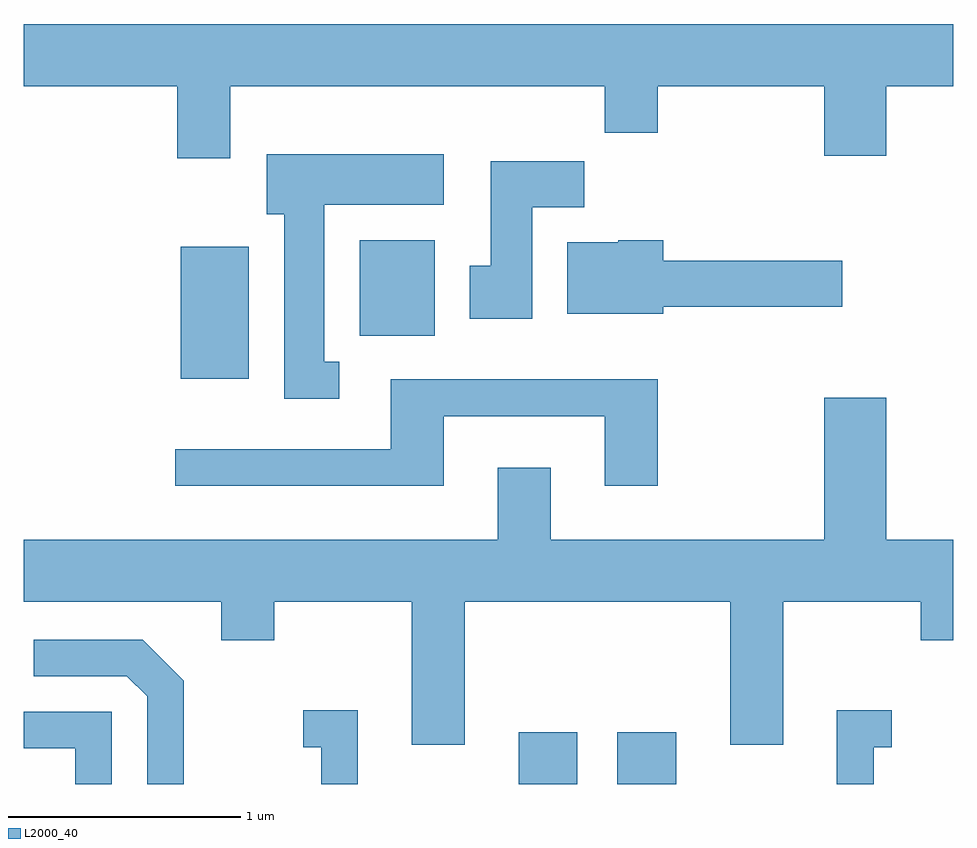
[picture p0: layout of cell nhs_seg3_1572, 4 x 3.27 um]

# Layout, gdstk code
import gdstk
lib = gdstk.Library(unit=1e-6, precision=1e-09)
def R(c, l, rs):  # rectangles x0, y0, x1, y1
    for r in rs: c.add(gdstk.rectangle(r[:2], r[2:], *l))
def P(c, l, *ps):  # polygons
    for p in ps: c.add(gdstk.Polygon(p, *l))
L2000_40 = (2000, 40)

nhs_seg3_1572 = lib.new_cell('nhs_seg3_1572')
R(nhs_seg3_1572, L2000_40, [(233.741,1131.892,233.994,1132.114), (234.166,1131.892,234.419,1132.114), (232.286,1133.636,232.579,1134.204), (233.056,1133.821,233.379,1134.234)])
P(nhs_seg3_1572, L2000_40, [(232.499,1134.896),(234.111,1134.896),(234.111,1134.696),(234.339,1134.696),(234.339,1134.896),(235.056,1134.896),(235.056,1134.596),(235.324,1134.596),(235.324,1134.896),(235.611,1134.896),(235.611,1135.164),(231.611,1135.164),(231.611,1134.896),(232.271,1134.896),(232.271,1134.586),(232.499,1134.586)],
  [(232.968,1133.709),(232.904,1133.709),(232.904,1134.386),(233.419,1134.386),(233.419,1134.604),(232.656,1134.604),(232.656,1134.346),(232.731,1134.346),(232.731,1133.551),(232.968,1133.551)],
  [(233.799,1134.376),(234.024,1134.376),(234.024,1134.574),(233.621,1134.574),(233.621,1134.124),(233.531,1134.124),(233.531,1133.896),(233.799,1133.896)],
  [(234.364,1133.946),(235.134,1133.946),(235.134,1134.144),(234.364,1134.144),(234.364,1134.234),(234.17,1134.234),(234.17,1134.224),(233.951,1134.224),(233.951,1133.916),(234.364,1133.916)],
  [(233.419,1133.476),(234.111,1133.476),(234.111,1133.176),(234.339,1133.176),(234.339,1133.634),(233.191,1133.634),(233.191,1133.334),(232.263,1133.334),(232.263,1133.176),(233.419,1133.176)],
  [(233.879,1133.254),(233.651,1133.254),(233.651,1132.944),(231.611,1132.944),(231.611,1132.676),(232.461,1132.676),(232.461,1132.511),(232.689,1132.511),(232.689,1132.676),(233.281,1132.676),(233.281,1132.061),(233.509,1132.061),(233.509,1132.676),(234.651,1132.676),(234.651,1132.061),(234.879,1132.061),(234.879,1132.676),(235.471,1132.676),(235.471,1132.511),(235.611,1132.511),(235.611,1132.944),(235.324,1132.944),(235.324,1133.554),(235.056,1133.554),(235.056,1132.944),(233.879,1132.944)],
  [(232.299,1132.337),(232.122,1132.514),(231.653,1132.514),(231.653,1132.356),(232.054,1132.356),(232.141,1132.269),(232.141,1131.892),(232.299,1131.892)],
  [(233.049,1132.209),(232.813,1132.209),(232.813,1132.051),(232.891,1132.051),(232.891,1131.892),(233.049,1131.892)],
  [(235.269,1132.051),(235.348,1132.051),(235.348,1132.209),(235.111,1132.209),(235.111,1131.892),(235.269,1131.892)],
  [(231.989,1132.204),(231.611,1132.204),(231.611,1132.046),(231.831,1132.046),(231.831,1131.892),(231.989,1131.892)])

lib.write_gds('nhs_seg3_1572.gds')
